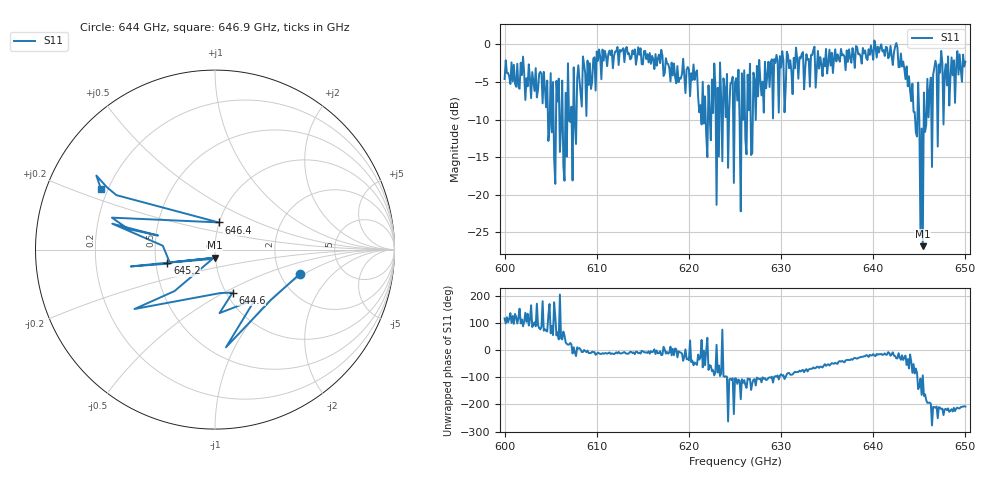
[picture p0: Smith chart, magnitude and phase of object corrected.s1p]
!Created with skrf (http://scikit-rf.org).
# GHz S MA R 50.0
!freq magS11 angS11
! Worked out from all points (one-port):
!   401 points, 600 GHz to 650 GHz, reference 50 ohm
!   lowest |S11| = -26.9 dB at 645.4 GHz (marker M1), VSWR 1.10, Z = 49.6 - j4.51 ohm
!   |S11| at or under -10 dB: 604.7057 GHz to 604.8937 GHz (188 MHz wide, 0.0311 % of centre); 605.3111 GHz to 605.5781 GHz (267 MHz wide, 0.0441 % of centre); 645.0015 GHz to 645.478 GHz (476.5 MHz wide, 0.0739 % of centre) (the widest 3 of 29)
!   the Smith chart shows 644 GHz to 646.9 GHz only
!   S11 on the Smith chart (normalised r, x): 644 GHz: 2.56, -0.91; 644.6 GHz: 1.07, -0.55; 645.2 GHz: 0.58, -0.09; 646.4 GHz: 0.99, +0.31; 646.9 GHz: 0.17, +0.24
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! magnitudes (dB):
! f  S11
! 600 GHz  -4.6
! 604 GHz  -3.9
! 605.2 GHz  -5.0
! 606 GHz  -14.3
! 606.2 GHz  -4.8
! 607.5 GHz  -3.1
! 608.2 GHz  -6.5
! 612.5 GHz  -0.7
! 618.8 GHz  -2.9
! 620.6 GHz  -4.7
! 622.1 GHz  -5.4
! 622.6 GHz  -9.1
! 623.2 GHz  -14.9
! 625 GHz  -5.1
! 625.9 GHz  -10.1
! 627.6 GHz  -2.1
! 631.2 GHz  -6.6
! 637.5 GHz  -1.8
! 642.5 GHz  0.2
! 643.8 GHz  -5.6
! 644 GHz  -6.2
! 644.6 GHz  -11.7
! 645.2 GHz  -11.2
! 645.4 GHz  -26.9
! 645.8 GHz  -10.7
! 646.4 GHz  -16.3
! 646.9 GHz  -2.9
! 650 GHz  -2.3
